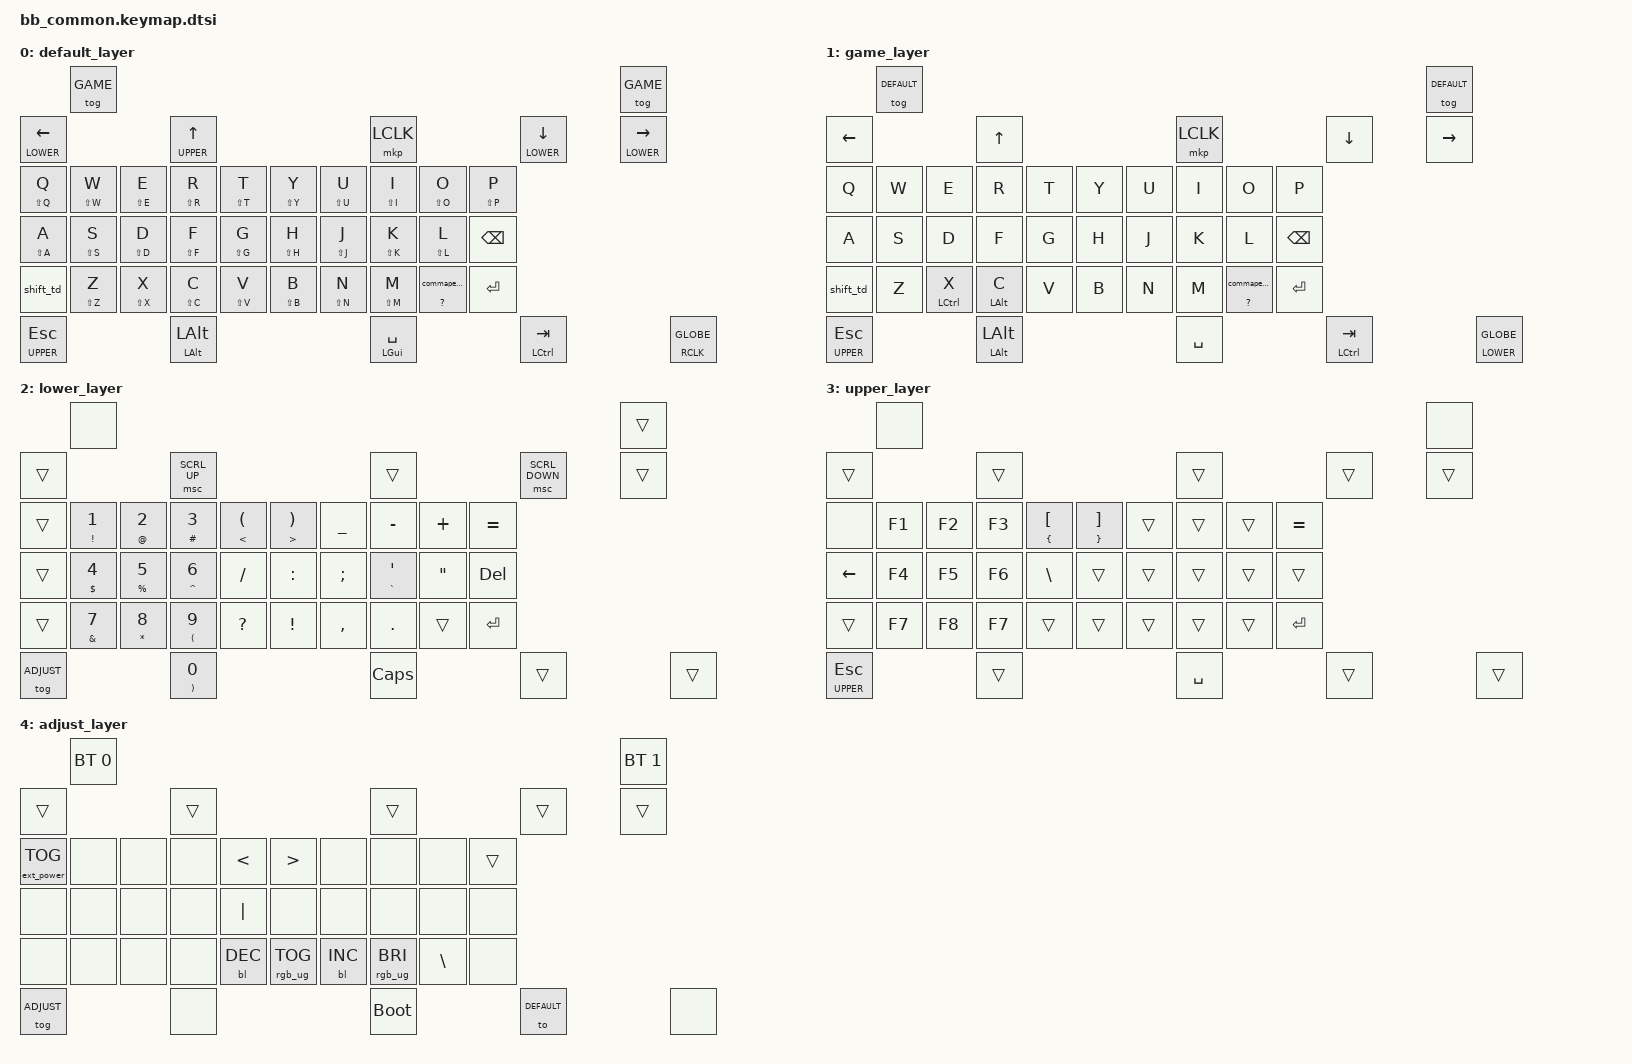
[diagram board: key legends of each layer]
/{
macros {
        R_1W: R_1W {
            label = "R_1W";
            compatible = "zmk,behavior-macro";
            #binding-cells = <0>;
            wait-ms = <0>;
            tap-ms = <0>;
            bindings
                = <&macro_press &kp LSHFT>
                , <&macro_tap &kp S>
                , <&macro_release &kp LSHFT>
                , <&macro_tap &kp H &kp A &kp W &kp U &kp A &kp J &kp Y &kp D &kp S &kp N>
                ;
        };
        R_2W: R_2W {
            label = "R_2W";
            compatible = "zmk,behavior-macro";
            #binding-cells = <0>;
            wait-ms = <5>;
            tap-ms = <10>;
            bindings
                = <&macro_tap &kp PIPE>
                , <&macro_press &kp LSHFT>
                , <&macro_tap &kp X>
                , <&macro_release &kp LSHFT>
                , <&macro_tap &kp T &kp E>
                , <&macro_press &kp LSHFT>
                , <&macro_tap &kp Z &kp B>
                , <&macro_release &kp LSHFT>
                , <&macro_tap &kp N8>
                , <&macro_press &kp LSHFT>
                , <&macro_tap &kp Y>
                , <&macro_release &kp LSHFT>
                , <&macro_tap &kp R &kp D &kp C &kp SPACE>
                , <&macro_press &kp LSHFT>
                , <&macro_tap &kp S &kp B &kp R>
                , <&macro_release &kp LSHFT>
                , <&macro_tap &kp Z &kp U &kp 1>
                ;
        };
        textit: textit {
            label = "textit";
            compatible = "zmk,behavior-macro";
            #binding-cells = <0>;
            wait-ms = <20>;
            tap-ms = <10>;
            bindings
                = <&macro_tap 
                &kp LBRC &kp LEFT &kp LEFT
                &kp BSLH &kp F &kp K &kp X &kp F &kp L &kp F>
                ,<&macro_press &kp LALT>
                ,<&macro_tap &kp RIGHT &kp RIGHT>
                ,<&macro_release &kp LALT>
                ;
        };
        textbf: textbf {
            label = "textbf";
            compatible = "zmk,behavior-macro";
            #binding-cells = <0>;
            wait-ms = <20>;
            tap-ms = <10>;
            bindings
                = <&macro_tap 
                &kp LBRC &kp LEFT &kp LEFT
                &kp BSLH &kp F &kp K &kp X &kp F &kp B &kp E>
                ,<&macro_press 
                &kp LALT>
                ,<&macro_tap 
                &kp RIGHT &kp RIGHT>
                ,<&macro_release 
                &kp LALT>
                ;
        };
        LR_PAR: LR_PAR {
            label = "LR_PAR";
            compatible = "zmk,behavior-macro";
            #binding-cells = <0>;
            wait-ms = <40>;
            tap-ms = <40>;
            bindings
                = <&macro_press &kp LSHFT>
                , <&macro_tap &kp N9 &kp N0>
                , <&macro_release &kp LSHFT>
                , <&macro_tap &kp LEFT>
                ;
        };   
        parencite: parencite {
            label = "parencite";
            compatible = "zmk,behavior-macro";
            #binding-cells = <0>;
            wait-ms = <10>;
            tap-ms = <20>;
            bindings
                = <&macro_tap &kp BSLH &kp R &kp A &kp S &kp K &kp J &kp C &kp L &kp F &kp K>
                , <&macro_tap &kp LBKT &kp RBKT  &kp LBRC &kp RBRC &kp LEFT &kp LEFT &kp LBKT &kp RBKT &kp RIGHT &kp RIGHT>
                ;
        };
        single_tap: single_tap {
            compatible = "zmk,behavior-macro-one-param";
            #binding-cells = <1>;
            bindings = <&macro_param_1to1>, <&kp MACRO_PLACEHOLDER>;
        };
    };
    behaviors {
        commaperiod: commaperiod {
            compatible = "zmk,behavior-tap-dance";
            #binding-cells = <0>;
            tapping-term-ms = <400>;
            bindings = <&kp COMMA>, <&kp DOT>;
        };
        commaq: commaq {
            compatible = "zmk,behavior-hold-tap";
            #binding-cells = <2>;
            flavor = "tap-preferred";
            tapping-term-ms = <400>;
            bindings = <&kp>, <&commaperiod>;
        };
        td_boot_out: td_boot_out {
            compatible = "zmk,behavior-tap-dance";
            #binding-cells = <0>;
            tapping-term-ms = <400>;
            bindings = <&bootloader>, <&out OUT_TOG>;
        };
        hm: homerow_mods {
            compatible = "zmk,behavior-hold-tap";
            #binding-cells = <2>;
            tapping-term-ms = <400>;
            bindings = <&kp &kp>;
        };
        sl_mo: behavior_sl_mo {
            compatible = "zmk,behavior-hold-tap";
            #binding-cells = <2>;
            flavor = "hold-preferred";      /*  */
            tapping-term-ms = <450>;       /*  */
            bindings = <&mo &sl>;          /* hold=MO, tap=SL */
        };
        qlt: quick_layer_tap {
            compatible = "zmk,behavior-hold-tap";
            #binding-cells = <2>;
            tapping-term-ms = <200>;
            quick-tap-ms = <200>;
            flavor = "hold-preferred";
            bindings = <&mo>, <&kp>;
        };        
        qmt: quick_mod_tap {
            compatible = "zmk,behavior-hold-tap";
            #binding-cells = <2>;
            tapping-term-ms = <200>;
            quick-tap-ms = <200>;
            flavor = "hold-preferred";
            bindings = <&kp>, <&kp>;
        }; 
        bhm: balanced_homerow_mods {
            compatible = "zmk,behavior-hold-tap";
            label = "HOMEROW_MODS";
            #binding-cells = <2>;
            tapping-term-ms = <250>;    // <---[[moderate duration]]
            quick-tap-ms = <0>;
            flavor = "balanced";
            bindings = <&kp>, <&kp>;
        };
        tns: tap_number_symbols {
            compatible = "zmk,behavior-hold-tap";
            label = "NUM_SYMBOLS";
            #binding-cells = <2>;
            tapping-term-ms = <250>;    // <---[[moderate duration]]
            quick-tap-ms = <0>;
            flavor = "tap-preferred";
            bindings = <&single_tap>, <&kp>;
        };
        tms: tap_mouse_symbols {
            compatible = "zmk,behavior-hold-tap";
            label = "MOUSE_SYMBOLS";
            #binding-cells = <2>;
            tapping-term-ms = <250>;    // <---[[moderate duration]]
            quick-tap-ms = <0>;
            flavor = "tap-preferred";
            bindings = <&mkp>, <&kp>;
        };
        
    sk_kp: behavior_sk_kp {
        compatible = "zmk,behavior-hold-tap";
        #binding-cells = <2>;
        flavor = "hold-preferred";
        tapping-term-ms = <200>;
        bindings = <&kp &sk>;          /* hold=kp, tap=sticky key */
        };
    shift_td: shift_td {
        compatible = "zmk,behavior-tap-dance";
        #binding-cells = <0>;
        tapping-term-ms = <200>;
        bindings = <&sk_kp LSHFT LSHFT>, <&caps_word>;
        };
    };

    conditional_layers {
        compatible = "zmk,conditional-layers";
        /* Tri-layer: holding LOWER + UPPER together activates ADJUST
           (QMK's update_tri_layer / "tri_layer" equivalent). */
        tri_layer {
            if-layers = <LOWER UPPER>;
            then-layer = <ADJUST>;
        };
    };

    keymap {
        compatible = "zmk,keymap";

        default_layer {

            bindings = <
/*        --------------------------------------------------------------------------------------------------------------------------
//         |    Shoulder Key1    |                                                                             |    Shoulder Key2    |
// |         Call key      |      Blackberry Key        |    Trackpad    |             Back Key                |             Endcall Key          |
// |     Q      |     W    |     E    |     R    |      T      |       Y        |       U        |        I        |       O      |      P        |
// |     A      |     S    |     D    |     F    |      G      |       H        |       J        |        K        |       L      |      ←        |
// |     alt    |     Z    |     X    |     C    |      V      |       B        |       N        |        M        |       $      |    Enter      |
//        |         aA     |         0           |           SPACE              |         SYM         |        aA          |
//        -----------------------------------------------------------------------------------------------------------------
*/
                 &tog GAME                                                                                           &tog GAME
    &qlt LOWER LEFT                    &qlt UPPER UP                        &mkp LCLK                   &qlt LOWER DOWN              &qlt LOWER RIGHT
    &tns LS(Q) Q        &tns LS(W) W &tns LS(E) E &tns LS(R) R &tns LS(T) T  &tns LS(Y) Y      &tns LS(U) U     &tns LS(I) I     &tns LS(O) O     &tns LS(P) P
    &tns LS(A) A        &tns LS(S) S &tns LS(D) D &tns LS(F) F &tns LS(G) G  &tns LS(H) H      &tns LS(J) J     &tns LS(K) K     &tns LS(L) L     &kp BSPC
    &shift_td            &tns LS(Z) Z &tns LS(X) X &tns LS(C) C &tns LS(V) V  &tns LS(B) B      &tns LS(N) N     &tns LS(M) M     &commaq QMARK 0  &kp RET
    &qlt UPPER ESC            &sk_kp LALT LALT               &bhm LGUI SPACE                          &bhm  LCTRL TAB                  &tms RCLK GLOBE
            >;
        };
        game_layer {

            bindings = <
/*        --------------------------------------------------------------------------------------------------------------------------
//         |    Shoulder Key1    |                                                                             |    Shoulder Key2    |
// |         Call key      |      Blackberry Key        |    Trackpad    |             Back Key                |             Endcall Key          |
// |     Q      |     W    |     E    |     R    |      T      |       Y        |       U        |        I        |       O      |      P        |
// |     A      |     S    |     D    |     F    |      G      |       H        |       J        |        K        |       L      |      ←        |
// |     alt    |     Z    |     X    |     C    |      V      |       B        |       N        |        M        |       $      |    Enter      |
//        |         aA     |         0           |           SPACE              |         SYM         |        aA          |
//        -----------------------------------------------------------------------------------------------------------------
*/
                 &tog DEFAULT                                                                                           &tog DEFAULT
    &kp LEFT                    &kp UP                        &mkp LCLK                   &kp DOWN              &kp RIGHT
    &kp Q        &kp W &kp E &kp R &kp T  &kp Y      &kp U     &kp I     &kp O     &kp P
    &kp A        &kp S &kp D &kp F &kp G  &kp H      &kp J     &kp K     &kp L     &kp BSPC
    &shift_td            &kp Z &bhm LCTL X &bhm LALT C &kp V  &kp B      &kp N     &kp M     &commaq QMARK 0  &kp RET
    &qlt UPPER ESC            &sk_kp LALT LALT               &kp SPACE                          &bhm  LCTRL TAB                  &qlt LOWER GLOBE
            >;
        };
        lower_layer {

            bindings = <
                 &none                                                                                       &trans
    &trans               &msc SCRL_UP                     &trans                          &msc SCRL_DOWN                           &trans
    &trans    &tns EXCL N1        &tns AT N2          &tns POUND N3    &tns LT LPAR   &tns GT RPAR      &kp UNDER       &kp MINUS    &kp PLUS         &kp EQUAL
    &trans    &tns DLLR N4        &tns PRCNT N5       &tns CARET N6    &kp FSLH   &kp COLON     &kp SEMI        &tns GRAVE SQT &kp DQT        &kp DEL
    &trans    &tns AMPS N7        &tns ASTRK N8       &tns LPAR N9          &kp QMARK     &kp EXCL        &kp COMMA &kp DOT    &trans &kp ENTER
    &tog ADJUST            &tns RPAR N0                         &kp CAPS                       &trans                       &trans
            >;
        };
        upper_layer {

            bindings = <
                 &none                                                                                           &none
    &trans          &trans                                  &trans                          &trans                     &trans
    &none        &kp F1   &kp F2 &kp F3      &tns LBRC LBKT &tns RBRC RBKT            &trans           &trans          &trans         &kp EQUAL
    &kp LEFT     &kp F4   &kp F5 &kp F6           &kp BSLH          &trans         &trans         &trans        &trans        &trans
    &trans      &kp F7   &kp F8 &kp F7  &trans        &trans  &trans       &trans &trans     &kp ENTER
    &qlt UPPER ESC              &trans                                      &kp  SPACE                        &trans                      &trans
        >;
        };

        adjust_layer {

            bindings = <
                 &bt BT_SEL 0                                                                                         &bt BT_SEL 1

    &trans    &trans                                      &trans                         &trans        &trans
    &ext_power EP_TOG        &none     &none       &none      &kp LT        &kp GT         &none           &none           &none            &trans
    &none        &none     &none       &none      &kp PIPE        &none         &none           &none           &none            &none
    &none        &none     &none       &none      &bl BL_DEC        &rgb_ug RGB_TOG  &bl BL_INC       &rgb_ug RGB_BRI &kp BSLH      &none
    &tog ADJUST                  &none                               &bootloader                         &to DEFAULT                      &none
        >;
        };
    };
};
